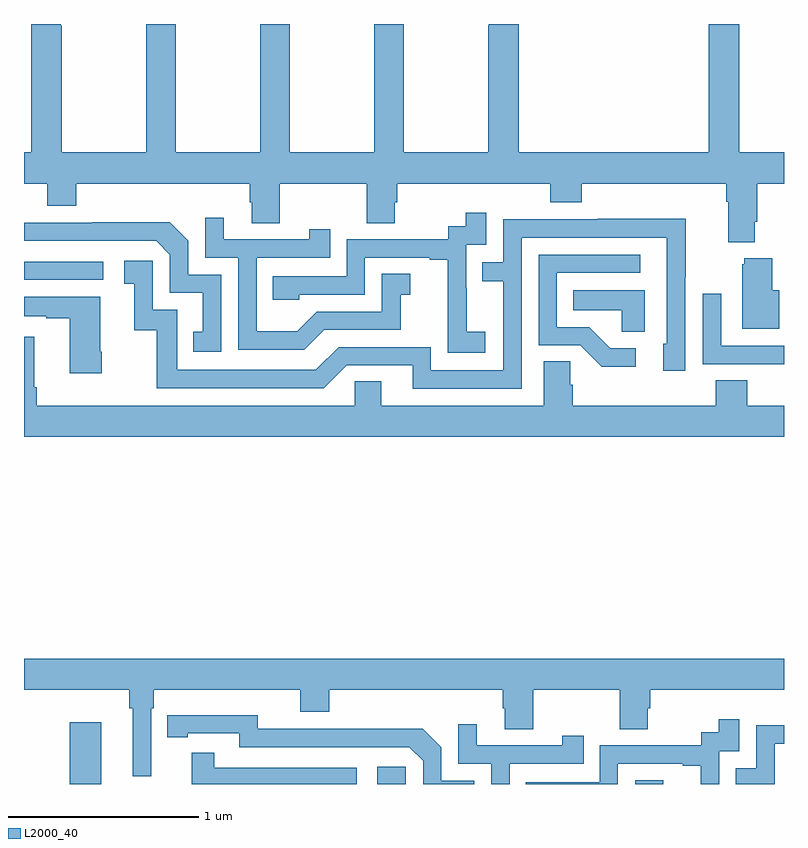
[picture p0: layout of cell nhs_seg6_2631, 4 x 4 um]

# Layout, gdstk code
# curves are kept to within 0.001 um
import gdstk
lib = gdstk.Library(unit=1e-6, precision=1e-09)
def R(c, l, rs):  # rectangles x0, y0, x1, y1
    for r in rs: c.add(gdstk.rectangle(r[:2], r[2:], *l))
def P(c, l, *ps):  # polygons
    for p in ps: c.add(gdstk.Polygon(p, *l))
L2000_40 = (2000, 40)

nhs_seg6_2631 = lib.new_cell('nhs_seg6_2631')
R(nhs_seg6_2631, L2000_40, [(267.242,953.5,267.406,953.824), (268.86,953.5,269.01,953.59), (270.216,953.5,270.364,953.521), (267,956.154,267.418,956.25)])
P(nhs_seg6_2631, L2000_40, [(268.347,956.66),(268.804,956.66),(268.804,956.452),(268.951,956.452),(268.951,956.562),(268.964,956.562),(268.964,956.66),(269.771,956.66),(269.771,956.561),(269.936,956.561),(269.936,956.66),(270.695,956.66),(270.695,956.564),(270.707,956.564),(270.707,956.351),(270.847,956.351),(270.847,956.458),(270.86,956.458),(270.86,956.66),(271,956.66),(271,956.824),(270.765,956.824),(270.765,957.5),(270.605,957.5),(270.605,956.824),(269.603,956.824),(269.603,957.5),(269.447,957.5),(269.447,957.491),(269.443,957.491),(269.443,956.824),(268.998,956.824),(268.998,957.5),(268.843,957.5),(268.843,956.824),(268.398,956.824),(268.398,957.5),(268.243,957.5),(268.243,956.824),(267.798,956.824),(267.798,957.5),(267.643,957.5),(267.643,956.824),(267.198,956.824),(267.198,957.491),(267.193,957.491),(267.193,957.5),(267.038,957.5),(267.038,956.824),(267,956.824),(267,956.66),(267.122,956.66),(267.122,956.543),(267.275,956.543),(267.275,956.66),(268.187,956.66),(268.187,956.562),(268.199,956.562),(268.199,956.452),(268.347,956.452)],
  [(269.428,955.879),(269.33,955.879),(269.33,956.108),(269.328,956.108),(269.328,956.337),(269.433,956.337),(269.433,956.506),(269.325,956.506),(269.325,956.436),(269.232,956.436),(269.232,956.367),(268.698,956.367),(268.698,956.172),(268.309,956.172),(268.309,956.049),(268.449,956.049),(268.449,956.076),(268.794,956.076),(268.794,956.271),(269.135,956.271),(269.135,956.259),(269.231,956.259),(269.231,955.975),(269.23,955.975),(269.23,955.769),(269.428,955.769)],
  [(268.579,955.89),(268.983,955.89),(268.983,956.075),(269.032,956.075),(269.032,956.185),(268.884,956.185),(268.884,955.986),(268.542,955.986),(268.438,955.882),(268.224,955.882),(268.224,956.271),(268.613,956.271),(268.613,956.419),(268.502,956.419),(268.502,956.367),(268.051,956.367),(268.051,956.479),(267.954,956.479),(267.954,956.271),(268.128,956.271),(268.128,955.785),(268.474,955.785)],
  [(269.619,956.376),(270.384,956.376),(270.384,955.818),(270.365,955.818),(270.365,955.674),(270.48,955.674),(270.48,956.167),(270.483,956.167),(270.483,956.474),(270.019,956.474),(270.019,956.472),(269.523,956.472),(269.523,956.247),(269.413,956.247),(269.413,956.146),(269.523,956.146),(269.523,955.677),(269.142,955.677),(269.142,955.8),(268.656,955.8),(268.536,955.68),(267.807,955.68),(267.807,955.995),(267.678,955.995),(267.678,956.254),(267.528,956.254),(267.528,956.133),(267.581,956.133),(267.581,955.887),(267.699,955.887),(267.699,955.584),(268.578,955.584),(268.698,955.704),(269.045,955.704),(269.045,955.581),(269.619,955.581)],
  [(268.038,956.181),(267.864,956.181),(267.864,956.358),(267.766,956.456),(267.358,956.456),(267.358,956.454),(267,956.454),(267,956.358),(267.696,956.358),(267.768,956.286),(267.768,956.085),(267.941,956.085),(267.941,955.881),(267.892,955.881),(267.892,955.776),(268.038,955.776)],
  [(270.22,955.794),(270.085,955.794),(269.974,955.905),(269.805,955.905),(269.805,956.19),(270.244,956.19),(270.244,956.286),(269.709,956.286),(269.709,955.809),(269.928,955.809),(270.041,955.697),(270.22,955.697)],
  [(270.976,956.098),(270.937,956.098),(270.937,956.266),(270.791,956.266),(270.791,956.235),(270.779,956.235),(270.779,955.895),(270.976,955.895)],
  [(270.268,956.098),(269.89,956.098),(269.89,955.994),(270.147,955.994),(270.147,955.879),(270.268,955.879)],
  [(271,955.806),(270.669,955.806),(270.669,956.08),(270.573,956.08),(270.573,955.71),(270.889,955.71),(270.889,955.709),(271,955.709)],
  [(267.408,955.774),(267.4,955.774),(267.4,956.065),(267,956.065),(267,955.961),(267.116,955.961),(267.116,955.951),(267.242,955.951),(267.242,955.662),(267.408,955.662)],
  [(271,955.492),(270.806,955.492),(270.806,955.625),(270.641,955.625),(270.641,955.492),(269.888,955.492),(269.888,955.601),(269.874,955.601),(269.874,955.724),(269.735,955.724),(269.735,955.492),(268.879,955.492),(268.879,955.619),(268.74,955.619),(268.74,955.492),(267.068,955.492),(267.068,955.588),(267.055,955.588),(267.055,955.855),(267,955.855),(267,955.328),(271,955.328)],
  [(267.669,953.9),(267.683,953.9),(267.683,953.996),(268.454,953.996),(268.454,953.879),(268.607,953.879),(268.607,953.996),(269.519,953.996),(269.519,953.898),(269.531,953.898),(269.531,953.788),(269.679,953.788),(269.679,953.996),(270.136,953.996),(270.136,953.788),(270.283,953.788),(270.283,953.898),(270.296,953.898),(270.296,953.996),(271,953.996),(271,954.16),(267,954.16),(267,953.996),(267.553,953.996),(267.553,953.9),(267.572,953.9),(267.572,953.541),(267.669,953.541)],
  [(269.37,953.517),(269.196,953.517),(269.196,953.694),(269.098,953.792),(268.69,953.792),(268.69,953.79),(268.23,953.79),(268.23,953.863),(267.754,953.862),(267.754,953.746),(267.862,953.746),(267.862,953.766),(268.134,953.766),(268.134,953.694),(269.028,953.694),(269.1,953.622),(269.1,953.5),(269.37,953.5)],
  [(270.126,953.607),(270.467,953.607),(270.467,953.595),(270.563,953.595),(270.563,953.5),(270.66,953.5),(270.66,953.673),(270.765,953.673),(270.765,953.842),(270.657,953.842),(270.657,953.772),(270.564,953.772),(270.564,953.703),(270.03,953.703),(270.03,953.508),(269.641,953.508),(269.641,953.5),(270.126,953.5)],
  [(269.556,953.607),(269.945,953.607),(269.945,953.755),(269.834,953.755),(269.834,953.703),(269.383,953.703),(269.383,953.815),(269.286,953.815),(269.286,953.607),(269.46,953.607),(269.46,953.5),(269.556,953.5)],
  [(270.951,953.712),(271,953.712),(271,953.808),(270.855,953.808),(270.855,953.583),(270.745,953.583),(270.745,953.5),(270.951,953.5)],
  [(268.75,953.586),(268.001,953.586),(268.001,953.665),(267.884,953.665),(267.884,953.5),(268.75,953.5)])

lib.write_gds('nhs_seg6_2631.gds')
